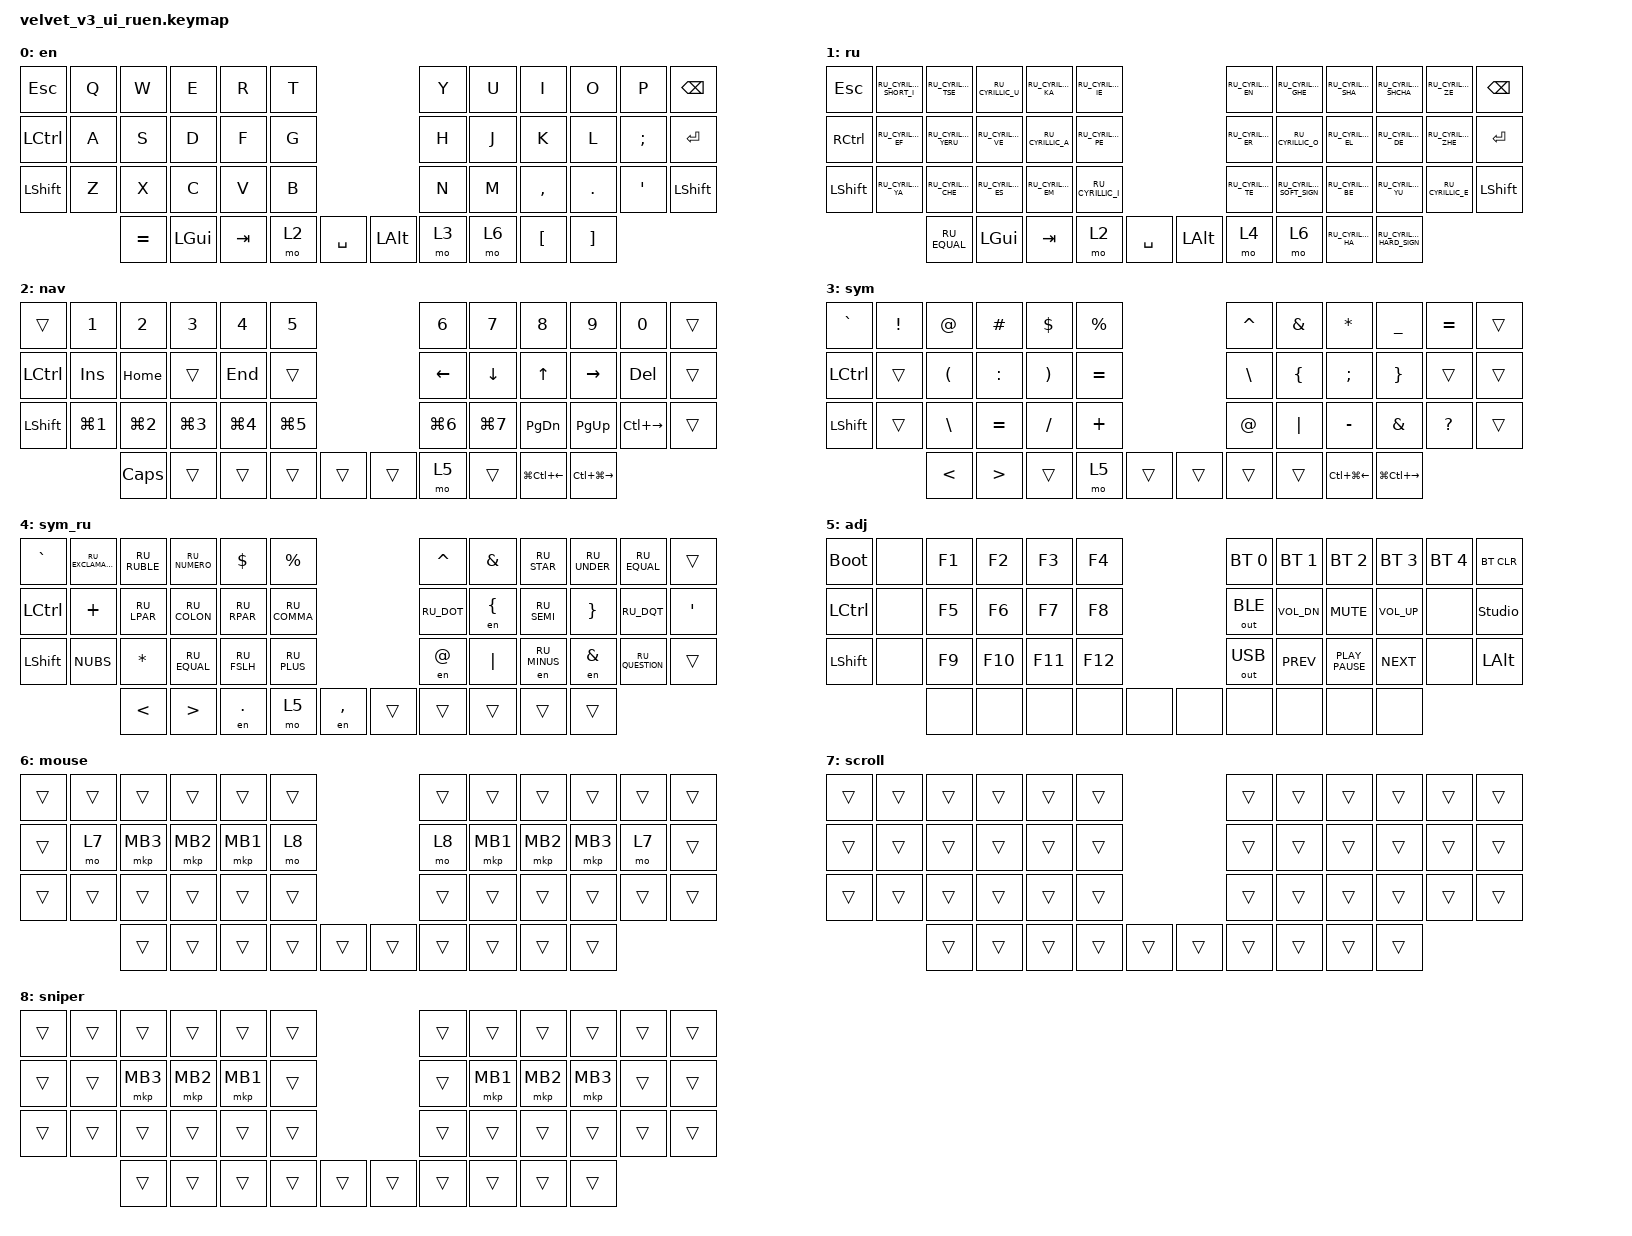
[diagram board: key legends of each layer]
#include "keys_ru.h"
#include <dt-bindings/zmk/input_transform.h>
#include <input/processors.dtsi>
#include <zephyr/dt-bindings/input/input-event-codes.h>
#include <behaviors.dtsi>
#include <dt-bindings/zmk/bt.h>
#include <dt-bindings/zmk/keys.h>
#include <dt-bindings/zmk/outputs.h>
#include <dt-bindings/zmk/pointing.h>

/ {
    behaviors {
        cap_sen: cap_sen {
            compatible = "zmk,behavior-hold-tap";
            label = "CAP_SEN";
            bindings = <&mo>, <&mt>;

            #binding-cells = <2>;
            tapping-term-ms = <150>;
            hold-while-undecided;
        };
    };

    combos { compatible = "zmk,combos"; };

    macros {
        to_ru: to_ru {
            compatible = "zmk,behavior-macro";
            #binding-cells = <0>;
            bindings = <&kp LS(LC(N2))>;
            label = "TO_RU";
        };

        to_en: to_en {
            compatible = "zmk,behavior-macro";
            #binding-cells = <0>;
            bindings = <&kp LS(LC(N1))>;
            label = "TO_EN";
        };

        layer_en: layer_en {
            compatible = "zmk,behavior-macro";
            #binding-cells = <0>;
            bindings = <&to 0 &to_en>;
            label = "LAYER_EN";
        };

        layer_ru: layer_ru {
            compatible = "zmk,behavior-macro";
            #binding-cells = <0>;
            bindings = <&to 1 &to_ru>;
            label = "LAYER_RU";
        };

        en: en {
            compatible = "zmk,behavior-macro-one-param";
            #binding-cells = <1>;
            bindings =
                <&to_en &macro_param_1to1 &kp MACRO_PLACEHOLDER>,
                <&macro_wait_time 10>,
                <&to_ru>,
                <&macro_wait_time 10>;

            label = "EN";
        };
    };

    keymap {
        compatible = "zmk,keymap";

        en {
            bindings = <
&kp ESC    &kp Q  &kp W      &kp E     &kp R    &kp T                             &kp Y  &kp U  &kp I      &kp O     &kp P     &kp BSPC
&kp LCTRL  &kp A  &kp S      &kp D     &kp F    &kp G                             &kp H  &kp J  &kp K      &kp L     &kp SEMI  &kp ENTER
&kp LSHFT  &kp Z  &kp X      &kp C     &kp V    &kp B                             &kp N  &kp M  &kp COMMA  &kp DOT   &kp SQT   &kp LEFT_SHIFT
                  &kp EQUAL  &kp LGUI  &kp TAB  &mo 2  &kp SPACE    &kp LEFT_ALT  &mo 3  &mo 6  &kp LBKT   &kp RBKT
            >;

            display-name = "en";
        };

        ru {
            display-name = "ru";
            bindings = <
&kp ESC    &kp RU_CYRILLIC_SHORT_I  &kp RU_CYRILLIC_TSE   &kp RU_CYRILLIC_U   &kp RU_CYRILLIC_KA  &kp RU_CYRILLIC_IE                             &kp RU_CYRILLIC_EN  &kp RU_CYRILLIC_GHE        &kp RU_CYRILLIC_SHA  &kp RU_CYRILLIC_SHCHA      &kp RU_CYRILLIC_ZE   &kp BSPC
&kp RCTRL  &kp RU_CYRILLIC_EF       &kp RU_CYRILLIC_YERU  &kp RU_CYRILLIC_VE  &kp RU_CYRILLIC_A   &kp RU_CYRILLIC_PE                             &kp RU_CYRILLIC_ER  &kp RU_CYRILLIC_O          &kp RU_CYRILLIC_EL   &kp RU_CYRILLIC_DE         &kp RU_CYRILLIC_ZHE  &kp ENTER
&kp LSHFT  &kp RU_CYRILLIC_YA       &kp RU_CYRILLIC_CHE   &kp RU_CYRILLIC_ES  &kp RU_CYRILLIC_EM  &kp RU_CYRILLIC_I                              &kp RU_CYRILLIC_TE  &kp RU_CYRILLIC_SOFT_SIGN  &kp RU_CYRILLIC_BE   &kp RU_CYRILLIC_YU         &kp RU_CYRILLIC_E    &kp LEFT_SHIFT
                                    &kp RU_EQUAL          &kp LGUI            &kp TAB             &mo 2               &kp SPACE    &kp LEFT_ALT  &mo 4               &mo 6                      &kp RU_CYRILLIC_HA   &kp RU_CYRILLIC_HARD_SIGN
            >;
        };

        nav {
            bindings = <
&trans          &kp N1      &kp N2            &kp N3            &kp N4            &kp N5                              &kp N6      &kp N7          &kp N8                  &kp N9                   &kp N0         &trans
&kp LCTRL       &kp INSERT  &kp HOME          &trans            &kp END           &trans                              &kp LEFT    &kp DOWN_ARROW  &kp UP_ARROW            &kp RIGHT_ARROW          &kp DELETE     &trans
&kp LEFT_SHIFT  &kp LG(N1)  &kp LG(NUMBER_2)  &kp LG(NUMBER_3)  &kp LG(NUMBER_4)  &kp LG(NUMBER_5)                    &kp LG(N6)  &kp LG(N7)      &kp PAGE_DOWN           &kp PAGE_UP              &kp LC(RIGHT)  &trans
                            &kp CAPSLOCK      &trans            &trans            &trans            &trans    &trans  &mo 5       &trans          &kp LG(LC(LEFT_ARROW))  &kp LC(LG(RIGHT_ARROW))
            >;

            display-name = "nav";
        };

        sym {
            bindings = <
&kp GRAVE       &kp EXCL  &kp AT_SIGN    &kp HASH   &kp DOLLAR  &kp PRCNT                    &kp CARET      &kp AMPERSAND  &kp STAR                &kp UNDER                &kp EQUAL  &trans
&kp LCTRL       &trans    &kp LPAR       &kp COLON  &kp RPAR    &kp EQUAL                    &kp BACKSLASH  &kp LBRC       &kp SEMI                &kp RBRC                 &trans     &trans
&kp LEFT_SHIFT  &trans    &kp BACKSLASH  &kp EQUAL  &kp FSLH    &kp PLUS                     &kp AT         &kp PIPE       &kp MINUS               &kp AMPS                 &kp QMARK  &trans
                          &kp LT         &kp GT     &trans      &mo 5      &trans    &trans  &trans         &trans         &kp LC(LG(LEFT_ARROW))  &kp LG(LC(RIGHT_ARROW))
            >;

            display-name = "sym";
        };

        sym_ru {
            display-name = "sym_ru";
            bindings = <
&kp GRAVE       &kp RU_EXCLAMATION  &kp RU_RUBLE   &kp RU_NUMERO     &kp DOLLAR   &kp PRCNT                          &kp CARET   &kp AMPERSAND  &kp RU_STAR   &kp RU_UNDER  &kp RU_EQUAL     &trans
&kp LCTRL       &kp PLUS            &kp RU_LPAR    &kp RU_COLON      &kp RU_RPAR  &kp RU_COMMA                       &kp RU_DOT  &en LBRC       &kp RU_SEMI   &kp RBRC      &kp RU_DQT       &kp SINGLE_QUOTE
&kp LEFT_SHIFT  &kp NUBS            &kp STAR       &kp RU_EQUAL      &kp RU_FSLH  &kp RU_PLUS                        &en AT      &kp PIPE       &en RU_MINUS  &en AMPS      &kp RU_QUESTION  &trans
                                    &kp LESS_THAN  &kp GREATER_THAN  &en DOT      &mo 5         &en COMMA    &trans  &trans      &trans         &trans        &trans
            >;
        };

        adj {
            bindings = <
&bootloader     &none  &kp F1  &kp F2   &kp F3   &kp F4                   &bt BT_SEL 0  &bt BT_SEL 1  &bt BT_SEL 2      &bt BT_SEL 3  &bt BT_SEL 4  &bt BT_CLR
&kp LCTRL       &none  &kp F5  &kp F6   &kp F7   &kp F8                   &out OUT_BLE  &kp C_VOL_DN  &kp K_MUTE        &kp C_VOL_UP  &none         &studio_unlock
&kp LEFT_SHIFT  &none  &kp F9  &kp F10  &kp F11  &kp F12                  &out OUT_USB  &kp K_PREV    &kp K_PLAY_PAUSE  &kp K_NEXT    &none         &kp LEFT_ALT
                       &none   &none    &none    &none    &none    &none  &none         &none         &none             &none
            >;

            display-name = "adj";
        };

        mouse {
            bindings = <
&trans  &trans  &trans    &trans    &trans    &trans                    &trans  &trans    &trans    &trans    &trans  &trans
&trans  &mo 7   &mkp MB3  &mkp MB2  &mkp MB1  &mo 8                     &mo 8   &mkp MB1  &mkp MB2  &mkp MB3  &mo 7   &trans
&trans  &trans  &trans    &trans    &trans    &trans                    &trans  &trans    &trans    &trans    &trans  &trans
                &trans    &trans    &trans    &trans  &trans    &trans  &trans  &trans    &trans    &trans
            >;
        };

        scroll {
            bindings = <
&trans  &trans  &trans  &trans  &trans  &trans                    &trans  &trans  &trans  &trans  &trans  &trans
&trans  &trans  &trans  &trans  &trans  &trans                    &trans  &trans  &trans  &trans  &trans  &trans
&trans  &trans  &trans  &trans  &trans  &trans                    &trans  &trans  &trans  &trans  &trans  &trans
                &trans  &trans  &trans  &trans  &trans    &trans  &trans  &trans  &trans  &trans
            >;
        };

        sniper {
            bindings = <
&trans  &trans  &trans    &trans    &trans    &trans                    &trans  &trans    &trans    &trans    &trans  &trans
&trans  &trans  &mkp MB3  &mkp MB2  &mkp MB1  &trans                    &trans  &mkp MB1  &mkp MB2  &mkp MB3  &trans  &trans
&trans  &trans  &trans    &trans    &trans    &trans                    &trans  &trans    &trans    &trans    &trans  &trans
                &trans    &trans    &trans    &trans  &trans    &trans  &trans  &trans    &trans    &trans
            >;
        };
    };
};

&trackball { cpi = <1500>; };

&trackball_listener {
    input-processors = <&zip_xy_scaler 9 20>;

    scroller {
        layers = <7>;
        input-processors =
            <&zip_xy_transform INPUT_TRANSFORM_Y_INVERT>,
            <&zip_xy_scaler 1 32>,
            <&zip_xy_to_scroll_mapper>;
    };

    sniper {
        layers = <8>;
        input-processors = <&zip_xy_scaler 1 9>;
    };
};
